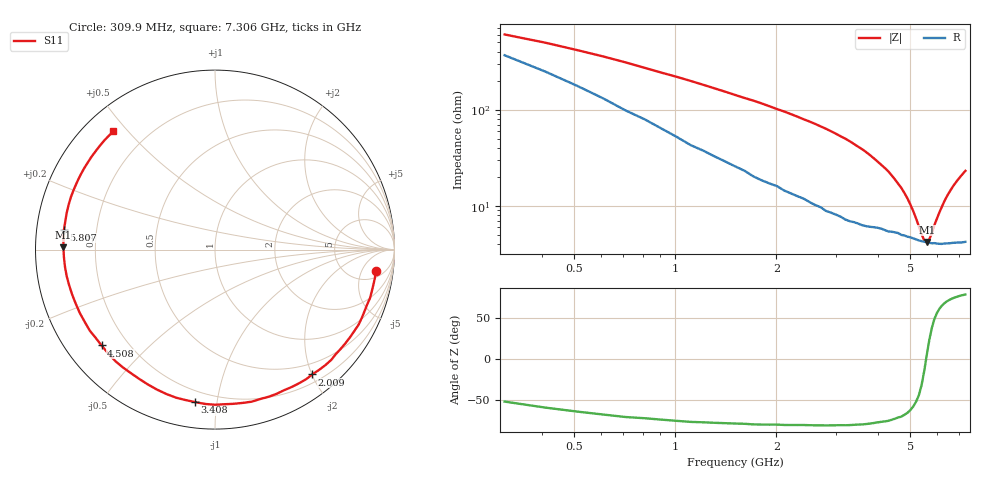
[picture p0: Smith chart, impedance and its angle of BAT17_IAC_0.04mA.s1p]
! Infineon Technologies  Discrete & RF Semiconductors
! BAT17
! IAC = 0.04 mA
! One-Port S-Parameters
# Hz  S  MA  R  50
!f  S11
!Hz  Mag  Ang
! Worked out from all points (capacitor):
!   71 points, 309.9 MHz to 7.306 GHz, reference 50 ohm
!   read as one part to ground: C = 898 fF near 309.9 MHz
!   lowest |Z| = 4.24 ohm at 5.607 GHz (marker M1)
!   series resonance near 5.583 GHz, so ESL is about 900 pH
!   S11 on the Smith chart (normalised r, x): 309.9 MHz: 7, -10; 2.009 GHz: 0.32, -2.01; 3.408 GHz: 0.14, -0.87; 4.508 GHz: 0.11, -0.36; 5.807 GHz: 0.08, +0.07; 7.306 GHz: 0.08, +0.46
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3.0985e8  0.9046 -7.5
7.0965e8  0.905 -17.4
1.10945e9  0.9029 -27.6
1.2094e9  0.8991 -30.2
1.70915e9  0.8928 -43.5
2.009e9  0.8815 -52.1
2.10895e9  0.8829 -54.8
2.6087e9  0.8727 -69.9
2.8086e9  0.8717 -76.4
3.0085e9  0.8653 -83.2
3.2084e9  0.8644 -89.9
3.4083e9  0.8568 -97.4
3.6082e9  0.8531 -104.7
3.8081e9  0.8441 -112.6
4.008e9  0.8348 -120.6
4.30785e9  0.8334 -131.6
4.50775e9  0.8276 -139.8
4.70765e9  0.8309 -147.1
4.90755e9  0.8319 -154.9
5.2074e9  0.8365 -166.3
5.4073e9  0.8413 -173.6
5.6072e9  0.8443 179.1
5.8071e9  0.8487 172.5
5.90705e9  0.849 168.9
6.2069e9  0.8546 159.9
6.50675e9  0.857 151.0
6.90655e9  0.862 140.4
7.30635e9  0.8687 130.7
